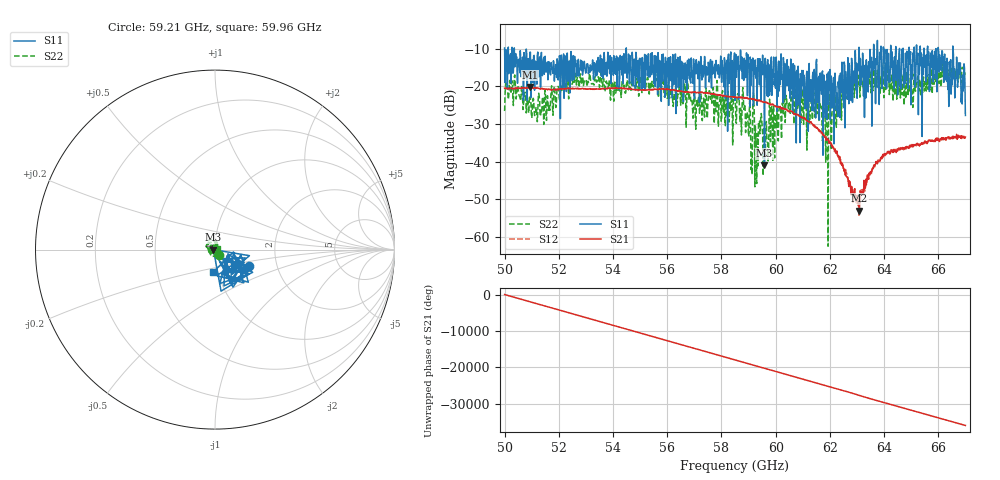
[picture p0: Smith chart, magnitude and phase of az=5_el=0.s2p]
!Created with skrf (http://scikit-rf.org).
# GHz S RI R 50.0
!freq ReS11 ImS11 ReS21 ImS21 ReS12 ImS12 ReS22 ImS22
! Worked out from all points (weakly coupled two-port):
!   1001 points, 50 GHz to 67 GHz, reference 50 ohm
!   highest |S21| = -20.19 dB at 50.94 GHz (marker M1); lowest = -53.0 dB at 63.09 GHz (marker M2)
!   lowest |S11| = -41.0 dB at 59.59 GHz (marker M3), VSWR 1.02, Z = 49.1 + j0.0105 ohm
!   |S11| at or under -10 dB: 50.36 GHz to 54.49 GHz (4.13 GHz wide, 7.88 % of centre); 54.49 GHz to 63.07 GHz (8.583 GHz wide, 14.6 % of centre); 63.08 GHz to 63.61 GHz (538.6 MHz wide, 0.85 % of centre) (the widest 3 of 23)
!   |S22| runs from -62.5 to -13.9 dB; largest |S21 - S12| = 0.0021
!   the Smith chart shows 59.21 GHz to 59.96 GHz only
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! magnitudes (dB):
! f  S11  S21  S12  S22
! 50 GHz  -9.8  -20.5  -20.5  -26.6
! 50.42 GHz  -13.5  -20.6  -20.6  -23.4
! 50.94 GHz  -10.9  -20.2  -20.2  -23.4
! 52.84 GHz  -14.4  -20.6  -20.7  -19.5
! 55.68 GHz  -13.2  -20.8  -20.9  -23.0
! 56.99 GHz  -14.7  -21.6  -21.6  -21.9
! 57.62 GHz  -16.0  -22.0  -22.1  -21.8
! 58.5 GHz  -23.8  -22.9  -22.8  -24.2
! 58.86 GHz  -17.8  -23.0  -23.1  -24.8
! 59.3 GHz  -15.2  -23.9  -23.8  -45.9
! 59.59 GHz  -41.0  -24.2  -24.2  -31.0
! 60.64 GHz  -14.0  -27.0  -26.8  -22.2
! 61.34 GHz  -26.4  -30.0  -30.0  -25.6
! 62 GHz  -15.5  -35.1  -34.8  -24.6
! 62.04 GHz  -18.5  -34.9  -35.7  -31.2
! 62.53 GHz  -13.5  -42.6  -42.3  -18.9
! 63.09 GHz  -12.6  -53.0  -48.9  -18.9
! 64.18 GHz  -18.9  -37.2  -37.5  -18.4
! 66.08 GHz  -15.2  -33.9  -33.9  -15.7
! 66.42 GHz  -15.2  -33.9  -33.6  -16.1
! 66.75 GHz  -17.7  -33.0  -33.5  -18.6
! 67 GHz  -27.7  -33.5  -33.5  -15.8
